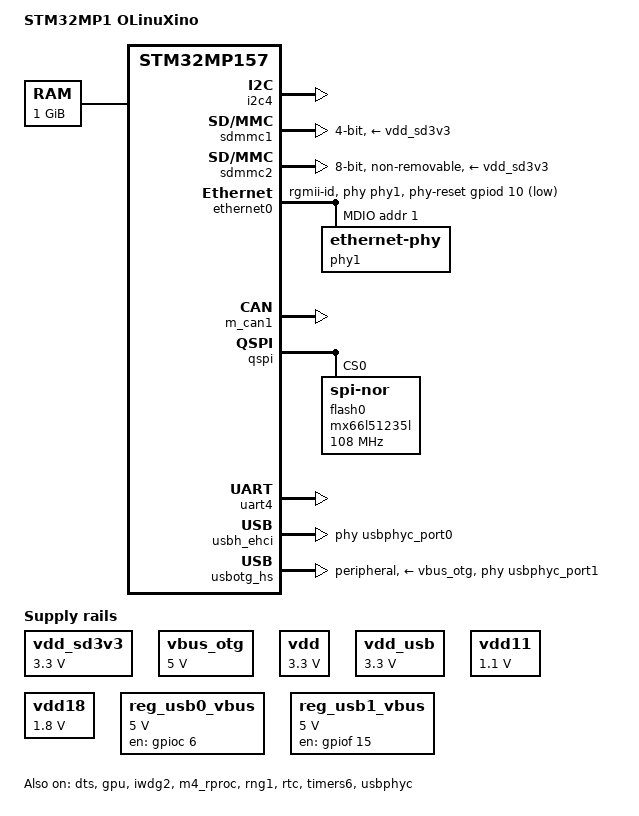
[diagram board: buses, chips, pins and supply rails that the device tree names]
// SPDX-License-Identifier: (GPL-2.0+ OR BSD-3-Clause)
/*
 * Copyright (C) STMicroelectronics 2017 - All Rights Reserved
 * Author: Ludovic Barre <ludovic.barre@st.com> for STMicroelectronics.
 */
/dts-v1/;

#include "stm32mp157.dtsi"
#include "stm32mp15xc.dtsi"
#include "stm32mp15-pinctrl.dtsi"
#include "stm32mp15xxaa-pinctrl.dtsi"
#include <dt-bindings/gpio/gpio.h>
#include <dt-bindings/mfd/st,stpmic1.h>

/ {
	model = "STM32MP1 OLinuXino";
	compatible = "olimex,stm32mp1-olinuxino", "st,stm32mp157";

	chosen {
		stdout-path = "serial0:115200n8";
	};

	memory@c0000000 {
		device_type = "memory";
		reg = <0xC0000000 0x40000000>;
	};

	reserved-memory {
		#address-cells = <1>;
		#size-cells = <1>;
		ranges;

		mcuram2: mcuram2@10000000 {
			compatible = "shared-dma-pool";
			reg = <0x10000000 0x40000>;
			no-map;
		};

		vdev0vring0: vdev0vring0@10040000 {
			compatible = "shared-dma-pool";
			reg = <0x10040000 0x1000>;
			no-map;
		};

		vdev0vring1: vdev0vring1@10041000 {
			compatible = "shared-dma-pool";
			reg = <0x10041000 0x1000>;
			no-map;
		};

		vdev0buffer: vdev0buffer@10042000 {
			compatible = "shared-dma-pool";
			reg = <0x10042000 0x4000>;
			no-map;
		};

		mcuram: mcuram@30000000 {
			compatible = "shared-dma-pool";
			reg = <0x30000000 0x40000>;
			no-map;
		};

		retram: retram@38000000 {
			compatible = "shared-dma-pool";
			reg = <0x38000000 0x10000>;
			no-map;
		};

		gpu_reserved: gpu@e8000000 {
			reg = <0xe8000000 0x8000000>;
			no-map;
		};
	};

	aliases {
		serial0 = &uart4;
		ethernet0 = &ethernet0;
	};

	vdd_sd3v3: regulator_vdd {
		compatible = "regulator-fixed";
		regulator-name = "vdd-sd";
		regulator-min-microvolt = <3300000>;
		regulator-max-microvolt = <3300000>;
		enable-active-high;
		regulator-always-on;
		regulator-initial-mode = <0>;
		//regulator-over-current-protection;
	};
	vbus_otg: regulator_otg {
		compatible = "regulator-fixed";
		regulator-name = "vdd-otg";
		regulator-min-microvolt = <5000000>;
		regulator-max-microvolt = <5000000>;
		enable-active-high;
		regulator-always-on;
		regulator-initial-mode = <0>;
		//regulator-over-current-protection;
	};
	vdd: vdd {
		compatible = "regulator-fixed";
		regulator-name = "vdd";
		regulator-min-microvolt = <3300000>;
		regulator-max-microvolt = <3300000>;
		enable-active-high;
		regulator-always-on;
		regulator-initial-mode = <0>;
		//regulator-over-current-protection;
	};
	vdd_usb: vdd-usb {
		compatible = "regulator-fixed";
		regulator-name = "vdd-usb";
		regulator-min-microvolt = <3300000>;
		regulator-max-microvolt = <3300000>;
		enable-active-high;
		regulator-always-on;
		regulator-initial-mode = <0>;
		//regulator-over-current-protection;
	};
	vdd11: vdd11 {
		compatible = "regulator-fixed";
		regulator-name = "vdd11";
		regulator-min-microvolt = <1100000>;
		regulator-max-microvolt = <1100000>;
		enable-active-high;
		regulator-always-on;
		regulator-initial-mode = <0>;
		//regulator-over-current-protection;
	};
	vdd18: vdd18 {
		compatible = "regulator-fixed";
		regulator-name = "vdd18";
		regulator-min-microvolt = <1800000>;
		regulator-max-microvolt = <1800000>;
		enable-active-high;
		regulator-always-on;
		regulator-initial-mode = <0>;
		//regulator-over-current-protection;
	};
	reg_usb0_vbus: usb0-vbus {
		compatible = "regulator-fixed";
		regulator-name = "usb0-vbus";
		regulator-min-microvolt = <5000000>;
		regulator-max-microvolt = <5000000>;
		enable-active-high;
		regulator-always-on;
		gpio = <&gpioc 6 GPIO_ACTIVE_HIGH>;
		status = "disabled";
	};
	reg_usb1_vbus: usb1-vbus {
		compatible = "regulator-fixed";
		regulator-name = "usb1-vbus";
		regulator-min-microvolt = <5000000>;
		regulator-max-microvolt = <5000000>;
		enable-active-high;
		regulator-always-on;
		gpio = <&gpiof 15 GPIO_ACTIVE_HIGH>;
		status = "disabled";
	};
};

&dac {
	pinctrl-names = "default";
	pinctrl-0 = <&dac_ch1_pins_a &dac_ch2_pins_a>;
	status = "disabled";
};

&dts {
	status = "okay";
};

&gpu {
	contiguous-area = <&gpu_reserved>;
	status = "okay";
};

&reg_usb0_vbus {
	status="okay";
};

&reg_usb1_vbus {
	status="okay";
};

&i2c4 {
	pinctrl-names = "default";
	pinctrl-0 = <&i2c4_pins_a>;
//	i2c-scl-rising-time-ns = <185>;
//	i2c-scl-falling-time-ns = <20>;
	status = "okay";
	/* spare dmas for other usage */
	/delete-property/dmas;
	/delete-property/dma-names;

	pmic: stpmic@33 {
		compatible = "st,stpmic1";
		reg = <0x33>;
		interrupts-extended = <&gpioa 0 IRQ_TYPE_EDGE_FALLING>;
		interrupt-controller;
		#interrupt-cells = <2>;
		status = "disabled";
	};
};

&ipcc {
	status = "okay";
};

&iwdg2 {
	timeout-sec = <32>;
	status = "okay";
};

&m4_rproc {
	memory-region = <&retram>, <&mcuram>, <&mcuram2>, <&vdev0vring0>,
			<&vdev0vring1>, <&vdev0buffer>;
	mboxes = <&ipcc 0>, <&ipcc 1>, <&ipcc 2>;
	mbox-names = "vq0", "vq1", "shutdown";
	interrupt-parent = <&exti>;
	interrupts = <68 1>;
	status = "okay";
};

&pwr_regulators {
	vdd-supply = <&vdd>;
	vdd_3v3_usbfs-supply = <&vdd_usb>;
};

&rng1 {
	status = "okay";
};

&rtc {
	status = "okay";
};

&sdmmc1 {
	pinctrl-names = "default", "opendrain", "sleep";
	pinctrl-0 = <&sdmmc1_b4_pins_a &sdmmc1_dir_pins_a>;
	pinctrl-1 = <&sdmmc1_b4_od_pins_a &sdmmc1_dir_pins_a>;
	pinctrl-2 = <&sdmmc1_b4_sleep_pins_a &sdmmc1_dir_sleep_pins_a>;
	broken-cd;
	st,neg-edge;
	bus-width = <4>;
	vmmc-supply = <&vdd_sd3v3>;
	/*vqmmc-supply = <&sd_switch>;*/
	status = "okay";
};

&sdmmc2 {
	pinctrl-names = "default", "opendrain", "sleep";
	pinctrl-0 = <&sdmmc2_b4_pins_a &sdmmc2_d47_pins_a>;
	pinctrl-1 = <&sdmmc2_b4_od_pins_a &sdmmc2_d47_pins_a>;
	pinctrl-2 = <&sdmmc2_b4_sleep_pins_a &sdmmc2_d47_sleep_pins_a>;
	non-removable;
	no-sd;
	no-sdio;
	st,neg-edge;
	bus-width = <8>;
	vmmc-supply = <&vdd_sd3v3>;
	vqmmc-supply = <&vdd_sd3v3>;
	mmc-ddr-3_3v;
	status = "okay";
};

&timers6 {
	status = "okay";
	/* spare dmas for other usage */
	/delete-property/dmas;
	/delete-property/dma-names;
	timer@5 {
		status = "okay";
	};
};

&ethernet0 {
	status = "okay";
	pinctrl-0 = <&ethernet0_rgmii_pins_a>;
	pinctrl-1 = <&ethernet0_rgmii_sleep_pins_a>;
	pinctrl-names = "default", "sleep";
	phy-mode = "rgmii-id";
	phy-handle = <&phy1>;
	st,eth_ref_clk_sel;
	phy-reset-gpios = <&gpiod 10 GPIO_ACTIVE_LOW>;

	mdio0 {
		compatible = "snps,dwmac-mdio";
		#address-cells = <1>;
		#size-cells = <0>;

		phy1: ethernet-phy@1 {
			reg = <1>;
		};
	};
};

&m_can1 {
	pinctrl-names = "default", "sleep";
	pinctrl-0 = <&m_can1_pins_a>;
	pinctrl-1 = <&m_can1_sleep_pins_a>;
	status = "okay";
};

&qspi {
	pinctrl-names = "default", "sleep";
	pinctrl-0 = <&qspi_clk_pins_a &qspi_bk1_pins_a &qspi_bk2_pins_a>;
	pinctrl-1 = <&qspi_clk_sleep_pins_a &qspi_bk1_sleep_pins_a &qspi_bk2_sleep_pins_a>;
	reg = <0x58003000 0x1000>, <0x70000000 0x4000000>;
	#address-cells = <1>;
	#size-cells = <0>;
	status = "okay";

	flash0: mx66l51235l@0 {
		compatible = "jedec,spi-nor";
		reg = <0>;
		spi-rx-bus-width = <4>;
		spi-max-frequency = <108000000>;
		#address-cells = <1>;
		#size-cells = <1>;
	};
};

&spi1 {
	pinctrl-names = "default";
	pinctrl-0 = <&spi1_pins_a>;
	status = "disabled";
};


&uart4 {
	pinctrl-names = "default";
	pinctrl-0 = <&uart4_pins_a>;
	status = "okay";
};


&usbh_ehci {
	phys = <&usbphyc_port0>;
	phy-names = "usb";
	status = "okay";
};


&usbotg_hs {
	dr_mode = "peripheral";
	phys = <&usbphyc_port1 0>;
	phy-names = "usb2-phy";
	vbus-supply = <&vbus_otg>;
	status = "okay";
};

&usbphyc {
	status = "okay";
};

&usbphyc_port0 {
	phy-supply = <&vdd_usb>;
		vdda1v1-supply = <&vdd11>;
	vdda1v8-supply = <&vdd18>;

};

&usbphyc_port1 {
	phy-supply = <&vdd_usb>;
	vdda1v1-supply = <&vdd11>;
	vdda1v8-supply = <&vdd18>;

};
